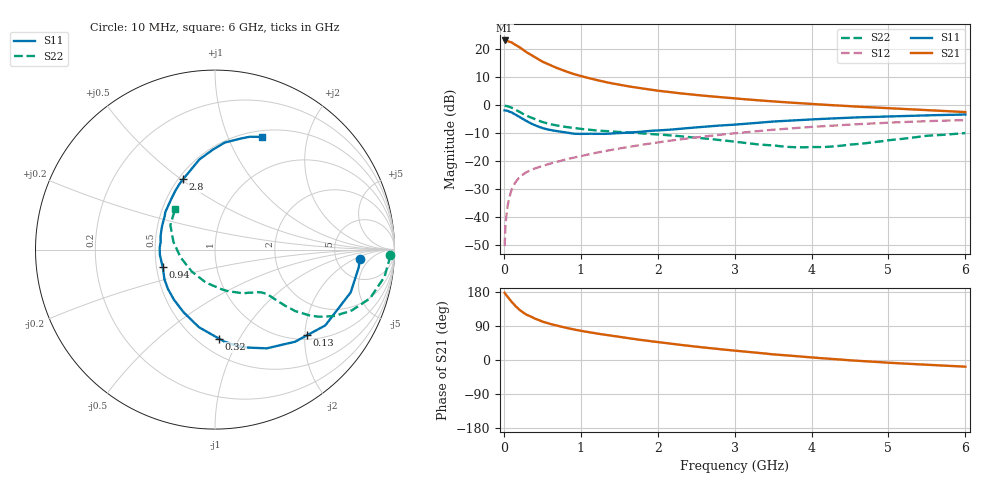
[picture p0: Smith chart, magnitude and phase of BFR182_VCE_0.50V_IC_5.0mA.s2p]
! Infineon Technologies  Discrete & RF Semiconductors
! BFR182
! VCE = 0.50 V,  IC =  5.0 mA
! Common Emitter S-Parameters:  Nov 2015
# GHz  S  MA  R  50
!  f  S11  S21  S12  S22
! GHz  MAG  ANG  MAG  ANG  MAG  ANG  MAG  ANG
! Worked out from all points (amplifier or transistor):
!   210 points, 10 MHz to 6 GHz, reference 50 ohm
!   highest |S21| = 23.1 dB at 10 MHz (marker M1)
!   |S21| within 3 dB of that: start of sweep to 232.9 MHz
!   unconditionally stable (mu >= 1): 864.6 MHz to 3.763 GHz
!   at 185 MHz: K = 0.36, MSG = 23.7 dB, |S12| = -26.4 dB
!   at 1.52 GHz: K = 1.12, MAG = 9.3 dB, |S12| = -15.4 dB
!   at 6 GHz: K = 0.98, MSG = 1.4 dB, |S12| = -5.4 dB
!   S11 on the Smith chart (normalised r, x): 10 MHz: 8.58, -2.56; 130 MHz: 1.10, -2.05; 320 MHz: 0.63, -0.83; 940 MHz: 0.54, -0.11; 2.8 GHz: 0.53, +0.51; 6 GHz: 0.57, +1.34
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0.01  0.8069 -3.7  14.37 177.4  0.003 86.1  0.9759 -1.9
0.025  0.803 -8.6  14.07 173.1  0.0079 82.4  0.9683 -4.7
0.05  0.7928 -17.5  14.02 166.4  0.0159 81.4  0.956 -9.2
0.095  0.7474 -32.7  13.33 155.1  0.0289 73.5  0.9092 -16.6
0.13  0.7009 -42.9  12.47 147.2  0.037 68.9  0.861 -21.3
0.15  0.6801 -49.0  12.02 142.4  0.0415 66.9  0.8339 -24.0
0.2  0.6214 -62.3  10.96 133.1  0.0508 61.7  0.7645 -28.9
0.26  0.5536 -76.5  9.583 124.0  0.0589 57.8  0.6856 -33.0
0.3  0.5152 -84.2  8.77 119.1  0.0638 56.5  0.6434 -34.8
0.32  0.4971 -87.3  8.443 117.5  0.0657 56.0  0.6271 -35.3
0.4  0.4415 -101.7  7.221 109.5  0.0735 54.1  0.5622 -37.5
0.5  0.3908 -116.5  6.025 101.4  0.0816 53.4  0.4996 -38.7
0.7  0.3416 -140.1  4.562 89.9  0.0977 53.9  0.4295 -39.7
0.94  0.3072 -161.9  3.505 79.5  0.1178 54.7  0.3853 -40.5
1.02  0.306 -168.8  3.264 76.4  0.1246 55.1  0.3735 -41.1
1.4  0.3124 166.1  2.461 64.0  0.1585 55.3  0.3371 -44.7
2.02  0.3538 138.7  1.803 46.8  0.2177 52.9  0.298 -54.3
2.8  0.4311 114.4  1.397 28.7  0.2949 46.8  0.2392 -74.3
3.1  0.4591 107.8  1.287 22.8  0.3233 43.5  0.2133 -85.4
4.1  0.5641 90.0  1.03 5.2  0.4163 31.9  0.1777 -143.7
5.1  0.6348 77.0  0.868 -8.2  0.4929 19.6  0.2429 165.3
6  0.6802 67.3  0.752 -17.6  0.5398 7.6  0.3172 134.6
